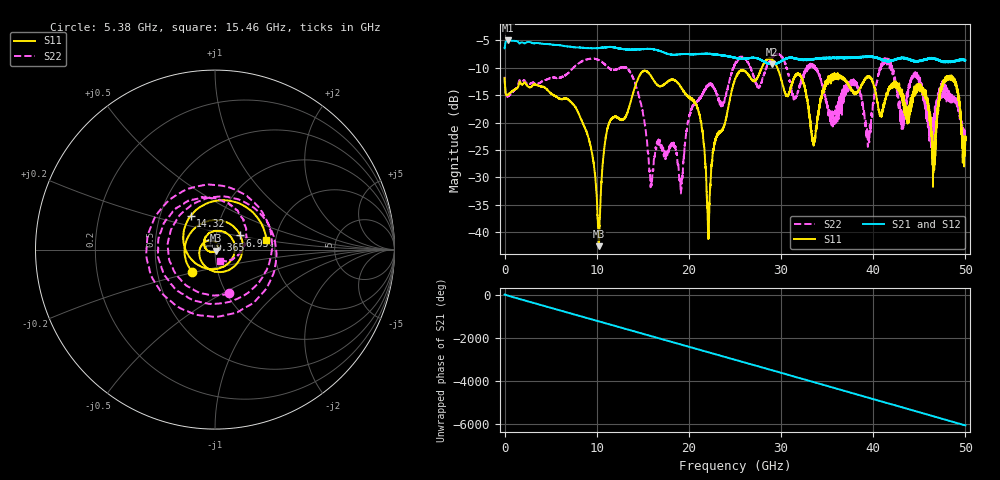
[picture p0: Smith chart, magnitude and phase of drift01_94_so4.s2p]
!Created with skrf (http://scikit-rf.org).
# Hz S RI R 50.0
!freq ReS11 ImS11 ReS21 ImS21 ReS12 ImS12 ReS22 ImS22
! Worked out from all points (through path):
!   10001 points, 300 kHz to 50 GHz, reference 50 ohm
!   highest |S21| = -5.05 dB at 325.3 MHz (marker M1); lowest = -9.4 dB at 29.04 GHz (marker M2)
!   group delay of S21, straight-line fit = 336 ps
!   lowest |S11| = -42.5 dB at 10.23 GHz (marker M3), VSWR 1.02, Z = 50.4 - j0.645 ohm
!   |S11| at or under -10 dB: start of sweep to 27.91 GHz; 29.6 GHz to end of sweep
!   |S22| runs from -32.9 to -7.4 dB; largest |S21 - S12| = 0.014
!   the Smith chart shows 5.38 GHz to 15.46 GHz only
!   S11 on the Smith chart (normalised r, x): 5.38 GHz: 0.76, -0.19; 6.93 GHz: 1.31, +0.21; 9.365 GHz: 0.94, +0.10; 14.32 GHz: 0.72, +0.28; 15.46 GHz: 1.79, +0.21
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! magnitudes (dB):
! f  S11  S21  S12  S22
! 300 kHz  -11.9  -6.5  -6.6  -11.7
! 325.3 MHz  -15.0  -5.0  -5.1  -15.3
! 5.38 GHz  -15.1  -5.9  -5.9  -11.8
! 6.93 GHz  -15.9  -6.1  -6.1  -10.9
! 8.335 GHz  -19.6  -6.4  -6.4  -8.9
! 9.365 GHz  -24.6  -6.5  -6.4  -8.4
! 10.23 GHz  -42.5  -6.4  -6.4  -8.6
! 11.23 GHz  -20.7  -6.3  -6.3  -10.0
! 14.32 GHz  -12.7  -6.7  -6.7  -13.6
! 15.46 GHz  -10.7  -6.6  -6.6  -23.4
! 16.67 GHz  -13.3  -6.9  -6.9  -23.3
! 19.14 GHz  -13.6  -7.6  -7.6  -32.8
! 20.85 GHz  -16.9  -7.6  -7.5  -16.2
! 22.13 GHz  -40.7  -7.5  -7.5  -13.3
! 25 GHz  -12.1  -8.2  -8.3  -9.6
! 29.04 GHz  -8.6  -9.4  -9.4  -8.1
! 33.34 GHz  -22.5  -8.5  -8.5  -9.5
! 39.47 GHz  -11.6  -8.0  -8.0  -22.3
! 41.67 GHz  -13.9  -8.8  -8.7  -8.9
! 46.55 GHz  -28.5  -8.3  -8.3  -19.9
! 48.56 GHz  -12.2  -8.9  -8.9  -15.7
! 50 GHz  -23.2  -8.7  -8.6  -22.9
